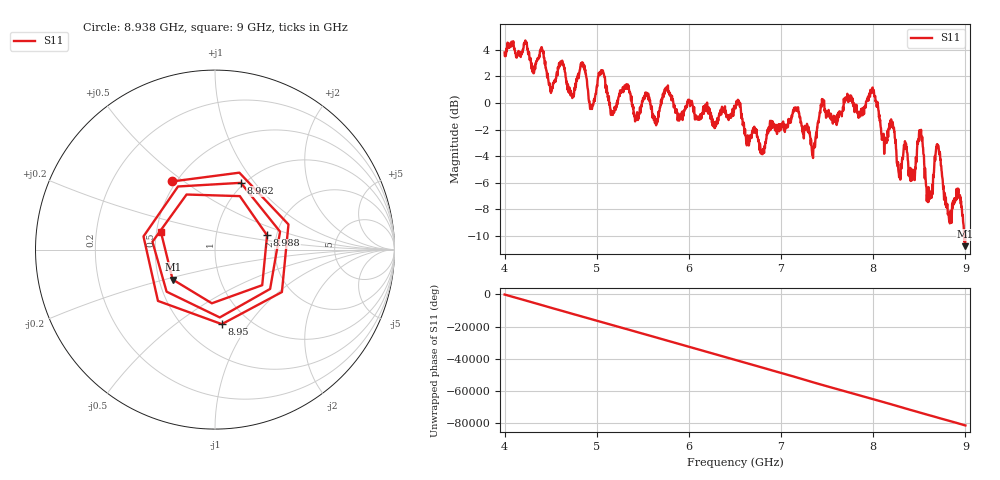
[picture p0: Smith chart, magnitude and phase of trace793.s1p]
! Created with skrf 1.8.0 (http://scikit-rf.org).
# Hz S RI R 50.0
!freq ReS11 ImS11
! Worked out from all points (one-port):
!   1601 points, 4 GHz to 9 GHz, reference 50 ohm
!   lowest |S11| = -10.8 dB at 8.997 GHz (marker M1), VSWR 1.81, Z = 29.5 - j10.7 ohm
!   |S11| at or under -10 dB: 8.985726 GHz to 8.989651 GHz (3.925 MHz wide, 0.0437 % of centre); 8.992292 GHz to end of sweep
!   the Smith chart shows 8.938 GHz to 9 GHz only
!   S11 on the Smith chart (normalised r, x): 8.938 GHz: 0.48, +0.45; 8.95 GHz: 0.75, -0.76; 8.962 GHz: 0.97, +0.85; 8.988 GHz: 1.78, +0.31; 9 GHz: 0.53, +0.11
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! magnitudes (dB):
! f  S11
! 4 GHz  3.8
! 4.625 GHz  3.2
! 4.731 GHz  0.6
! 4.85 GHz  3.0
! 4.941 GHz  -0.4
! 5.047 GHz  2.5
! 5.25 GHz  0.5
! 5.875 GHz  -0.9
! 6.5 GHz  -0.3
! 6.8 GHz  -3.9
! 7.125 GHz  -0.8
! 7.347 GHz  -4.1
! 7.444 GHz  0.3
! 7.75 GHz  0.4
! 7.994 GHz  1.2
! 8.112 GHz  -2.3
! 8.375 GHz  -4.3
! 8.431 GHz  -5.5
! 8.512 GHz  -2.1
! 8.603 GHz  -7.4
! 8.7 GHz  -3.3
! 8.809 GHz  -8.4
! 8.938 GHz  -7.0
! 8.95 GHz  -7.6
! 8.962 GHz  -8.0
! 8.988 GHz  -10.4
! 8.997 GHz  -10.8
! 9 GHz  -10.0
